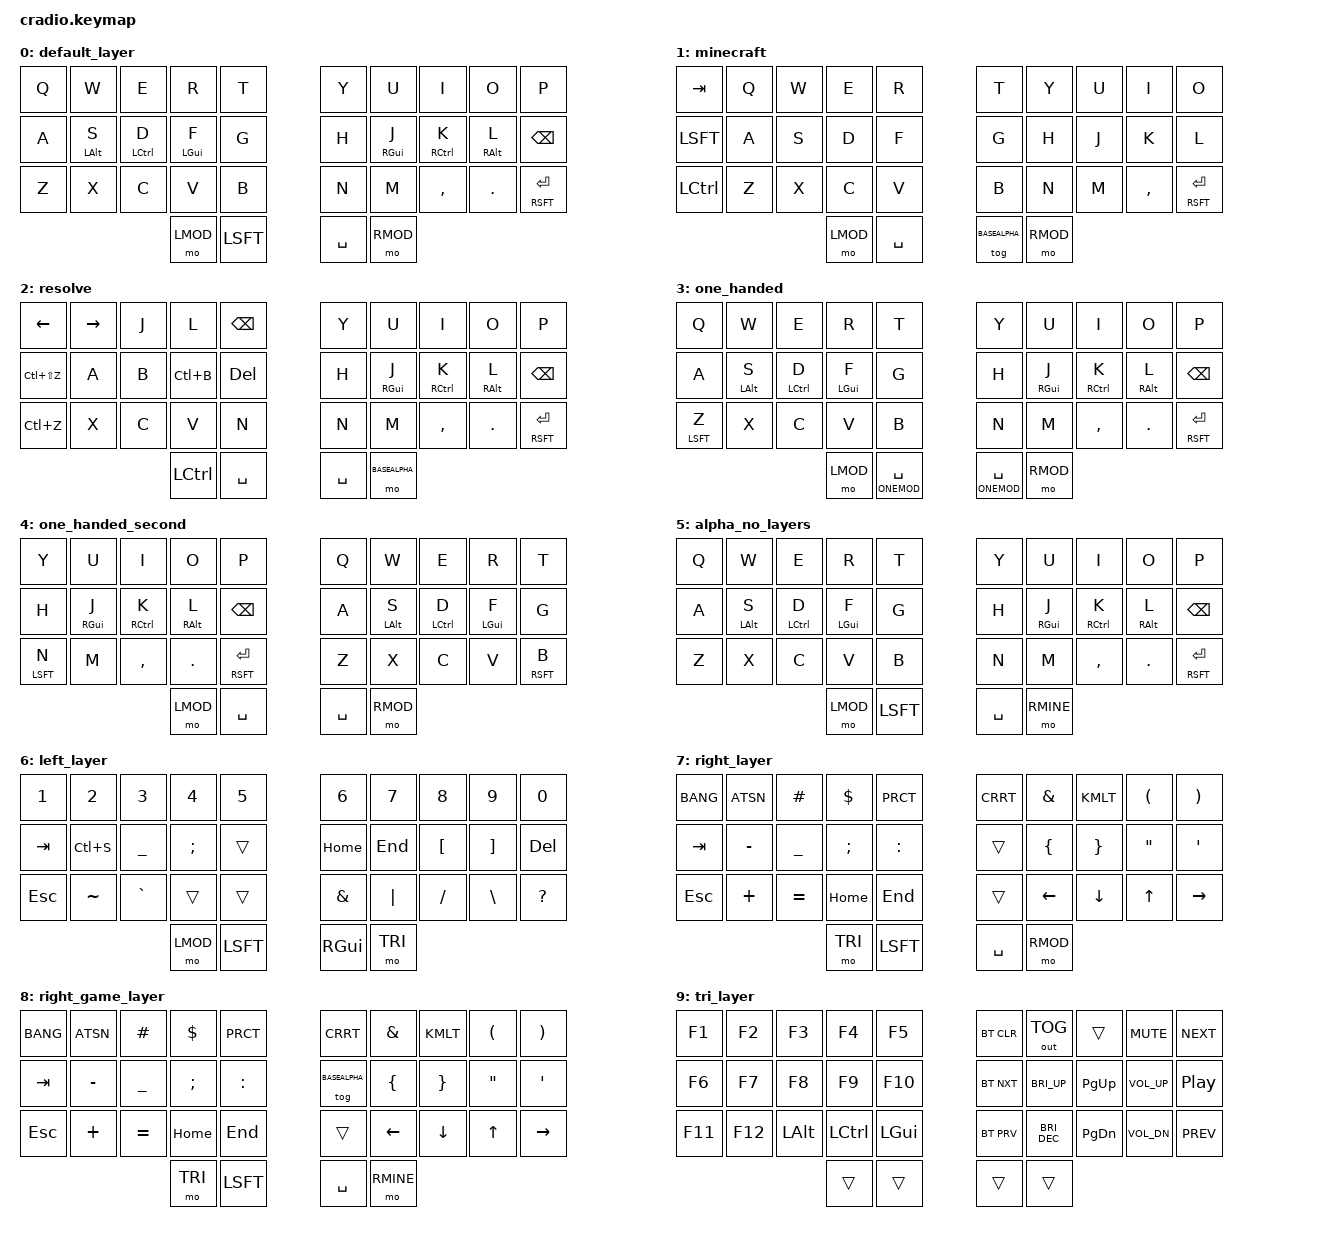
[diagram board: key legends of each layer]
/*
 * Copyright (c) 2020 The ZMK Contributors
 *
 * SPDX-License-Identifier: MIT
 */

#include <behaviors.dtsi>
#include <dt-bindings/zmk/keys.h>
#include <dt-bindings/zmk/bt.h>
#include <dt-bindings/zmk/outputs.h>


#define QWERTY 0
#define MINE 1
#define RESOLVE 2
#define ONE 3
#define ONEMOD 4
#define BASEALPHA 5
#define LMOD 6
#define RMOD 7
#define RMINE 8
#define TRI 9


&mt {
  //  flavor = "tap-preferred";
   // tapping_term_ms = <200>;
};

/ { 
    behaviors {
        hm: homerow_mods {
            compatible = "zmk,behavior-hold-tap";
            label = "HOMEROW_MODS";
            #binding-cells = <2>;
            tapping-term-ms = <200>;
            quick_tap_ms = <0>;
            flavor = "tap-preferred";
            bindings = <&kp>, <&kp>;
        };
		lm: layer_mods {
            compatible = "zmk,behavior-hold-tap";
            label = "LAYER_MODS";
            #binding-cells = <2>;
            tapping-term-ms = <200>;
            quick_tap_ms = <0>;
            flavor = "tap-preferred";
            bindings = <&mo>, <&kp>;
        };
    };

	combos {
		compatible = "zmk,combos";
		combo_mine {
			timeout-ms = <50>;
            key-positions = <2 7 25 26>;
            bindings = <&tog MINE>;
		};
		compatible = "zmk,combos";
		combo_resolve {
			timeout-ms = <50>;
            key-positions = <2 4 7 12>;
            bindings = <&tog RESOLVE>;
		};
		compatible = "zmk,combos";
		combo_resolve {
			timeout-ms = <50>;
            key-positions = <1 10 17 25>;
            bindings = <&tog ONE>;
		};
	};

    keymap {
            compatible = "zmk,keymap";

       		default_layer {
		bindings = <
		&kp Q &kp W &kp E &kp R &kp T 						&kp Y &kp U &kp I &kp O &kp P
		&kp A &hm LALT S &hm LCTRL D &hm LGUI F &kp G 	    &kp H &hm RGUI J &hm RCTRL K &hm RALT L &kp BKSP
		&kp Z &kp X &kp C &kp V &kp B				        &kp N &kp M  &kp CMMA &kp DOT &mt RSFT RET
          				&mo LMOD &kp LSFT  				&kp SPC &mo RMOD 
		>;
		};

			minecraft {
	    bindings = <
		&kp TAB &kp Q &kp W &kp E &kp R 						&kp T &kp Y &kp U &kp I &kp O
		&kp LSFT &kp A &kp S &kp D &kp F 	    					&kp G &kp H &kp J &kp K &kp L
		&kp LCTRL &kp Z &kp X &kp C &kp V				        &kp B &kp N  &kp M &kp CMMA &mt RSFT RET
          				&mo LMOD &kp SPC  				&tog BASEALPHA &mo RMOD 
		>;
		};

			resolve {
		bindings = <
		&kp LEFT &kp RIGHT &kp J &kp L &kp BKSP 						&kp Y &kp U &kp I &kp O &kp P
		&kp LC(LS(Z)) &kp A &kp B &kp LC(B) &kp DEL 	    &kp H &hm RGUI J &hm RCTRL K &hm RALT L &kp BKSP
		&kp LC(Z) &kp X &kp C &kp V &kp N				        &kp N &kp M  &kp CMMA &kp DOT &mt RSFT RET
          				&kp LCTRL &kp SPC  				&kp SPC &mo BASEALPHA 
		>;
		};

			one_handed {
		bindings = <
		&kp Q &kp W &kp E &kp R &kp T 						&kp Y &kp U &kp I &kp O &kp P
		&kp A &hm LALT S &hm LCTRL D &hm LGUI F &kp G 	    &kp H &hm RGUI J &hm RCTRL K &hm RALT L &kp BKSP
		&mt LSFT Z &kp X &kp C &kp V &kp B				        &kp N &kp M  &kp CMMA &kp DOT &mt RSFT RET
          				&mo LMOD &lm ONEMOD SPC  				&lm ONEMOD SPC &mo RMOD 
		>;
		};

			one_handed_second {
		bindings = <
		&kp Y &kp U &kp I &kp O &kp P						&kp Q &kp W &kp E &kp R &kp T 									
		&kp H &hm RGUI J &hm RCTRL K &hm RALT L &kp BKSP	&kp A &hm LALT S &hm LCTRL D &hm LGUI F &kp G
		&mt LSFT N &kp M  &kp CMMA &kp DOT &mt RSFT RET			&kp Z &kp X &kp C &kp V &mt RSFT B			 
          				&mo LMOD &kp SPC  				&kp SPC &mo RMOD 
		>;
		};

			alpha_no_layers {
		bindings = <
		&kp Q &kp W &kp E &kp R &kp T 						&kp Y &kp U &kp I &kp O &kp P
		&kp A &hm LALT S &hm LCTRL D &hm LGUI F &kp G 	    &kp H &hm RGUI J &hm RCTRL K &hm RALT L &kp BKSP
		&kp Z &kp X &kp C &kp V &kp B				        &kp N &kp M  &kp CMMA &kp DOT &mt RSFT RET
          				&mo LMOD &kp LSFT  				&kp SPC &mo RMINE
		>;
        };


       		left_layer {
		bindings = <
		&kp NUM_1  &kp NUM_2    &kp NUM_3    &kp NUM_4    &kp NUM_5		&kp NUM_6 &kp NUM_7 &kp NUM_8 &kp NUM_9 &kp NUM_0
		&kp TAB    &kp LC(S)    &kp UNDER      &kp SCLN     &trans 		&kp HOME &kp END  &kp LBKT &kp RBKT  &kp DEL
		&kp ESC    &kp TILDE 	&kp GRAVE	 &trans  &trans 	&kp AMPS &kp PIPE &kp FSLH &kp BSLH  &kp QMARK
					    &mo LMOD  &kp LSFT  					&kp RGUI &mo TRI 

		>;
		};
		
			right_layer {
		bindings = <
		&kp BANG  &kp ATSN &kp HASH  &kp DLLR  &kp PRCT    			&kp CRRT  &kp AMPS &kp KMLT &kp LPRN &kp RPRN
		&kp TAB  &kp MINUS &kp UNDER &kp SCLN  &kp COLN 			&trans &kp LBRC  &kp RBRC  &kp DQT &kp QUOT
		&kp ESC  &kp PLUS &kp EQL &kp HOME &kp END    			&trans &kp LEFT &kp DOWN &kp UP  &kp RIGHT
					  &mo TRI &kp LSFT  				&kp SPC  &mo RMOD 
		>;
		};	

			right_game_layer {
		bindings = <
		&kp BANG  &kp ATSN &kp HASH  &kp DLLR  &kp PRCT    			&kp CRRT  &kp AMPS &kp KMLT &kp LPRN &kp RPRN
		&kp TAB  &kp MINUS &kp UNDER &kp SCLN  &kp COLN 			&tog BASEALPHA &kp LBRC  &kp RBRC  &kp DQT &kp QUOT
		&kp ESC  &kp PLUS &kp EQL &kp HOME &kp END    			&trans &kp LEFT &kp DOWN &kp UP  &kp RIGHT
					  &mo TRI &kp LSFT  				&kp SPC  &mo RMINE
		>;
		};	
		
			tri_layer {
	    bindings = <
		&kp F1  &kp F2  &kp F3  &kp F4  &kp F5 				&bt BT_CLR &out OUT_TOG &trans   &kp C_MUTE   &kp C_NEXT
		&kp F6 &kp F7 &kp F8 &kp F9 &kp F10  				&bt BT_NXT &kp C_BRI_UP &kp PG_UP  &kp C_VOL_UP &kp C_PP
		&kp F11 &kp F12 &kp LALT &kp LCTRL &kp LGUI   		&bt BT_PRV &kp C_BRI_DEC &kp PG_DN  &kp C_VOL_DN  &kp C_PREV
					 &trans &trans  					&trans &trans 
		>;
		};

	};
};
